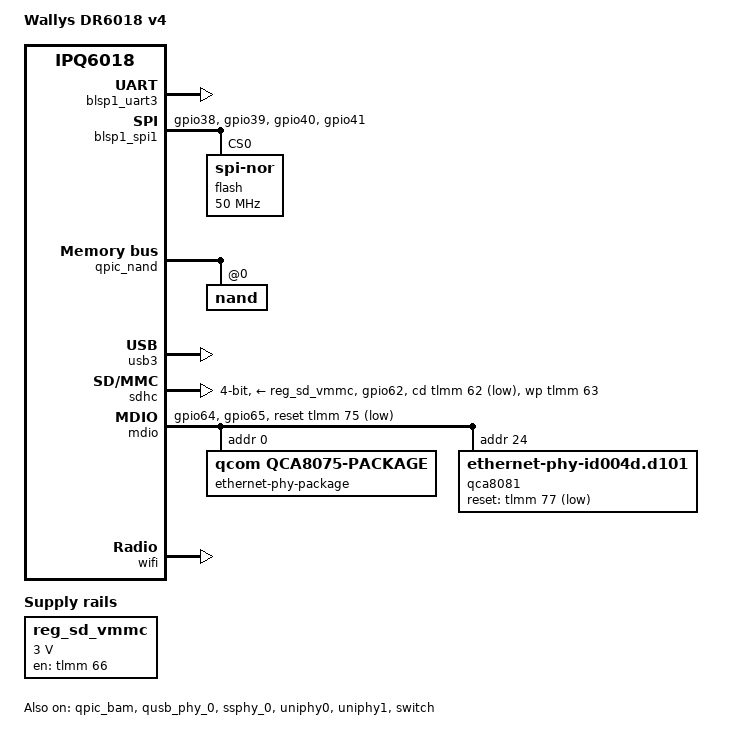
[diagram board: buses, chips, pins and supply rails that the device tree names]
// SPDX-License-Identifier: GPL-2.0-or-later OR BSD-3-Clause

/dts-v1/;

#include "ipq6018.dtsi"
#include "ipq6018-ess.dtsi"
#include <dt-bindings/gpio/gpio.h>
#include <dt-bindings/input/input.h>

/ {
	model = "Wallys DR6018 v4";
	compatible = "wallys,dr6018-v4", "wallys,dr6018", "qcom,ipq6018";

	aliases {
		serial0 = &blsp1_uart3;
		/*
		 * Aliases as required by u-boot
		 * to patch MAC addresses
		 */
		ethernet0 = &swport1;
		ethernet1 = &swport2;
		ethernet2 = &swport3;
		ethernet3 = &swport4;
		ethernet4 = &wan;
	};

	chosen {
		stdout-path = "serial0:115200n8";

		bootargs-append = " root=/dev/ubiblock0_1";

	};

	reg_sd_vmmc: regulator-sdcard-vmmc {
		compatible = "regulator-fixed";
		regulator-name = "sdcard-vmmc";
		regulator-min-microvolt = <3000000>;
		regulator-max-microvolt = <3000000>;

		startup-delay-us = <200>;

		gpio = <&tlmm 66 GPIO_ACTIVE_HIGH>;
		enable-active-high;

		pinctrl-names = "default";
		pinctrl-0 = <&sd_vmmc_en_default>;
	};
};

&tlmm {
	/* TZ has exclusive control over GPIO20 */
	gpio-reserved-ranges = <20 1>;

	spi_0_pins: spi-0-state {
		pins = "gpio38", "gpio39", "gpio40", "gpio41";
		function = "blsp0_spi";
		drive-strength = <8>;
		bias-pull-down;
	};

	mdio_pins: mdio-state {
		mdc {
			pins = "gpio64";
			function = "mdc";
			drive-strength = <8>;
			bias-pull-up;
		};

		mdio {
			pins = "gpio65";
			function = "mdio";
			drive-strength = <8>;
			bias-pull-up;
		};
	};

	sd_vmmc_en_default: sd-vmmc-en-default-state {
		pins = "gpio66";
		function = "gpio";
		drive-strength = <8>;
		bias-pull-down;
	};

	sd_pins: sd-state {
		pins = "gpio62";
		function = "gpio";
		drive-strength = <8>;
		bias-pull-up;
	};
};

/*
 * Board does not use companion MP5496 PMIC,
 * but rather uses fixed external SMPS.
 */
&rpm {
	status = "disabled";
};

&blsp1_uart3 {
	status = "okay";

	pinctrl-0 = <&serial_3_pins>;
	pinctrl-names = "default";
};

&blsp1_spi1 {
	pinctrl-0 = <&spi_0_pins>;
	pinctrl-names = "default";
	status = "okay";

	flash@0 {
		#address-cells = <1>;
		#size-cells = <1>;
		reg = <0>;
		compatible = "jedec,spi-nor";
		spi-max-frequency = <50000000>;
	};
};

&qpic_bam {
	status = "okay";
};

&qpic_nand {
	status = "okay";

	nand@0 {
		reg = <0>;

		nand-ecc-strength = <8>;
		nand-ecc-step-size = <512>;
		nand-bus-width = <8>;
	};
};

&qusb_phy_0 {
	status = "okay";
};

&ssphy_0 {
	status = "okay";
};

&usb3 {
	status = "okay";
};

&qusb_phy_1 {
	status = "disabled";
};

&usb2 {
	status = "disabled";
};

&sdhc {
	status = "okay";
	pinctrl-0 = <&sd_pins>;
	pinctrl-names = "default";

	cd-gpios = <&tlmm 62 GPIO_ACTIVE_LOW>;
	wp-gpios = <&tlmm 63 GPIO_ACTIVE_HIGH>;
	vmmc-supply = <&reg_sd_vmmc>;
	bus-width = <4>;
};

&mdio {
	status = "okay";
	pinctrl-0 = <&mdio_pins>;
	pinctrl-names = "default";
	reset-gpios = <&tlmm 75 GPIO_ACTIVE_LOW>;

	ethernet-phy-package@0 {
		compatible = "qcom,qca8075-package";
		#address-cells = <1>;
		#size-cells = <0>;
		reg = <0>;

		qca8075_0: ethernet-phy@0 {
			compatible = "ethernet-phy-ieee802.3-c22";
			reg = <0>;
		};

		qca8075_1: ethernet-phy@1 {
			compatible = "ethernet-phy-ieee802.3-c22";
			reg = <1>;
		};

		qca8075_2: ethernet-phy@2 {
			compatible = "ethernet-phy-ieee802.3-c22";
			reg = <2>;
		};

		qca8075_3: ethernet-phy@3 {
			compatible = "ethernet-phy-ieee802.3-c22";
			reg = <3>;
		};
	};

	qca8081: ethernet-phy@24 {
		compatible = "ethernet-phy-id004d.d101";
		reg = <24>;
		reset-gpios = <&tlmm 77 GPIO_ACTIVE_LOW>;
	};
};

&edma {
	status = "okay";
};

&wifi {
        status = "okay";
	qcom,ath11k-calibration-variant = "Wallys-DR6018";
};

&uniphy0 {
	status = "okay";
};

&uniphy1 {
	status = "okay";
};

&switch {
	status = "okay";

	ports {
		#address-cells = <1>;
		#size-cells = <0>;

		port@0 {
			reg = <0>;
			ethernet = <&edma>;
			phy-mode = "internal";

			fixed-link {
				speed = <1000>;
				full-duplex;
			};
		};

		swport1: port@1 {
			reg = <1>;
			label = "lan1";
			phy-handle = <&qca8075_0>;
			phy-mode = "psgmii";
			pcs-handle = <&uniphy0 0>;
		};

		swport2: port@2 {
			reg = <2>;
			label = "lan2";
			phy-handle = <&qca8075_1>;
			phy-mode = "psgmii";
			pcs-handle = <&uniphy0 1>;
		};

		swport3: port@3 {
			reg = <3>;
			label = "lan3";
			phy-handle = <&qca8075_2>;
			phy-mode = "psgmii";
			pcs-handle = <&uniphy0 2>;
		};

		swport4: port@4 {
			reg = <4>;
			label = "lan4";
			phy-handle = <&qca8075_3>;
			phy-mode = "psgmii";
			pcs-handle = <&uniphy0 3>;
		};

		wan: port@5 {
			reg = <5>;
			label = "wan";
			phy-handle = <&qca8081>;
			phy-mode = "2500base-x";
			pcs-handle = <&uniphy1 0>;
		};
	};
};
